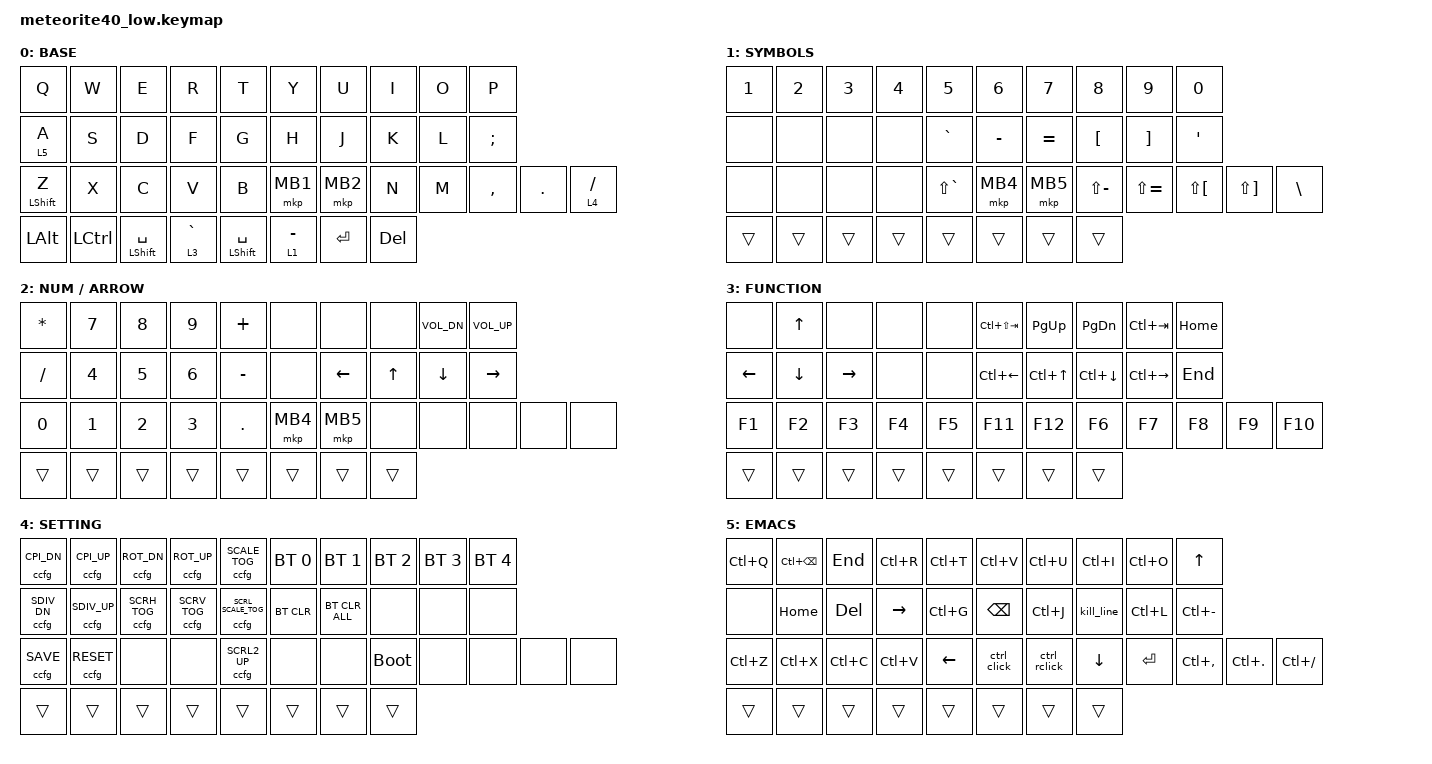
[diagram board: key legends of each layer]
#include <behaviors.dtsi>
#include <dt-bindings/zmk/bt.h>
#include <dt-bindings/zmk/keys.h>
#include <dt-bindings/zmk/pointing.h>

#include <behaviors/custom_config.dtsi>
#include <behaviors/meteorite_custom_key.dtsi>
#include <behaviors/meteorite_bt_os.dtsi>
#include <behaviors/meteorite_mod_key.dtsi>
#include <behaviors/meteorite_os_key.dtsi>
#include <dt-bindings/zmk/custom_config.h>
#include <dt-bindings/zmk/meteorite_custom_keys.h>
#include <dt-bindings/zmk/meteorite_bt_os.h>

&mt {
    flavor = "tap-preferred"; // change hold to tap
    tapping-term-ms = <200>;
    quick-tap-ms = <150>; // change 200 to 150
};

&lt {
    flavor = "tap-preferred";
    tapping-term-ms = <150>; // change 200 to 150
    quick-tap-ms = <150>; // change 200 to 150
    require-prior-idle-ms = <150>; // 高速タイピング中はタップ優先
};

/ {
    behaviors {
        lt_emacs: lt_emacs {
            compatible = "zmk,behavior-hold-tap";
            #binding-cells = <2>;
            flavor = "tap-preferred";
            tapping-term-ms = <150>;
            quick-tap-ms = <150>;
            require-prior-idle-ms = <0>;
            bindings = <&mo>, <&kp>;
            display-name = "Emacs layer-tap (tap-preferred, no prior-idle)";
        };

        mck_mt: mck_mt {
            compatible = "zmk,behavior-hold-tap";
            #binding-cells = <2>;
            flavor = "tap-preferred";
            tapping-term-ms = <150>;
            bindings = <&mck>, <&kp>;
            display-name = "meteorite OS-Switch-mod-tap";
        };

        mck_mt_st: mck_mt_st {
            compatible = "zmk,behavior-hold-tap";
            #binding-cells = <2>;
            flavor = "tap-preferred";
            tapping-term-ms = <150>;
            bindings = <&mck>, <&alt_cmd_tab>;
            display-name = "meteorite OS-Switch-mod-tap (smart toggle)";
        };

        alt_cmd_tab: alt_cmd_tab {
            compatible = "zmk,behavior-smart-toggle";
            #binding-cells = <0>;
            display-name = "meteorite Smart toggle (Alt/Cmd+Tab)";
            bindings = <&mck M_OS_ALT_CMD>, <&kp TAB>;
            position-bindings = <12 13>; /* D, F */
            position-binding-behaviors = <&kp LS(TAB)>, <&kp TAB>;
        };
    };

    macros {
        kill_line: kill_line {
            compatible = "zmk,behavior-macro";
            #binding-cells = <0>;
            bindings = <&kp LS(END) &kp DEL>;
        };

        ctrl_click: ctrl_click {
            compatible = "zmk,behavior-macro";
            #binding-cells = <0>;
            bindings =
                <&macro_press>,
                <&kp LCTRL>,
                <&macro_tap>,
                <&mkp MB1>,
                <&macro_release>,
                <&kp LCTRL>;
        };

        ctrl_rclick: ctrl_rclick {
            compatible = "zmk,behavior-macro";
            #binding-cells = <0>;
            bindings =
                <&macro_press>,
                <&kp LCTRL>,
                <&macro_tap>,
                <&mkp MB2>,
                <&macro_release>,
                <&kp LCTRL>;
        };
    };

    combos {
        compatible = "zmk,combos";

        lang1 {
            bindings = <&kp LANG1>;
            key-positions = <12 13>; /* D + F */
            layers = <0>;
        };

        lang2 {
            bindings = <&kp LANG2>;
            key-positions = <16 17>; /* J + K */
            layers = <0>;
        };

        esc {
            bindings = <&kp ESCAPE>;
            key-positions = <20 21>; /* Z + X */
            layers = <0>;
        };

        tab {
            bindings = <&kp TAB>;
            key-positions = <0 1>; /* Q + W */
            layers = <0>;
        };

        line_home {
            bindings = <&mosk HOME LG(LEFT)>;
            key-positions = <16 17>; /* J + K (on layer 2) */
            layers = <2>;
        };

        line_end {
            bindings = <&mosk END LG(RIGHT)>;
            key-positions = <18 19>; /* L + - (on layer 2) */
            layers = <2>;
        };

        doc_home {
            bindings = <&mosk LC(HOME) LG(UP)>;
            key-positions = <16 18>; /* J + L (on layer 2) */
            layers = <2>;
        };

        doc_end {
            bindings = <&mosk LC(END) LG(DOWN)>;
            key-positions = <17 19>; /* K + - (on layer 2) */
            layers = <2>;
        };

        ctrl_alt_delete {
            bindings = <&kp LC(LA(DELETE))>;
            key-positions = <2 3 4>;
        };

        win {
            bindings = <&kp LEFT_WIN>;
            key-positions = <5 6 7>;
        };

        alt_f4 {
            bindings = <&kp LA(F4)>;
            key-positions = <1 32>;
        };

        snipping_tool {
            bindings = <&kp LS(LG(S))>;
            key-positions = <25 26>;
        };

        l_semi_enter {
            bindings = <&kp ENTER>;
            key-positions = <18 19>; /* L + ; */
            layers = <0>;
        };

        aqua_voice {
            bindings = <&kp RALT>;
            key-positions = <17 18>; /* K + L */
            layers = <0>;
        };
    };

    keymap {
        compatible = "zmk,keymap";
        layout = &LOW_PROFILE_DEFAULT;

        win_default_layer {
            display-name = "BASE";
            bindings = <
&kp Q             &kp W      &kp E             &kp R        &kp T             &kp Y        &kp U      &kp I       &kp O  &kp P
&lt_emacs 5 A    &kp S      &kp D             &kp F        &kp G             &kp H        &kp J      &kp K       &kp L  &kp SEMICOLON
&mt LEFT_SHIFT Z  &kp X      &kp C             &kp V        &kp B             &mkp MB1     &mkp MB2   &kp N       &kp M  &kp COMMA      &kp DOT  &lt 4 SLASH
&kp LALT          &kp LCTRL  &mt LSHIFT SPACE  &lt 3 GRAVE  &mt LSHIFT SPACE  &lt 1 MINUS  &kp ENTER  &kp DELETE
            >;
        };

        layer_1 {
            display-name = "SYMBOLS";
            bindings = <
&kp NUMBER_1  &kp NUMBER_2  &kp NUMBER_3  &kp NUMBER_4  &kp N5         &kp NUMBER_6  &kp N7     &kp N8            &kp N9             &kp N0
&none         &none         &none         &none         &kp GRAVE      &kp MINUS     &kp EQUAL  &kp LEFT_BRACKET  &kp RIGHT_BRACKET  &kp SINGLE_QUOTE
&none         &none         &none         &none         &kp LS(GRAVE)  &mkp MB4      &mkp MB5   &kp LS(MINUS)     &kp LS(EQUAL)      &kp LS(LEFT_BRACKET)  &kp LS(RIGHT_BRACKET)  &kp BACKSLASH
&trans        &trans        &trans        &trans        &trans         &trans        &trans     &trans
            >;
        };

        layer_2 {
            display-name = "NUM / ARROW";
            bindings = <
                &kp ASTRK        &kp N7     &kp N8     &kp N9     &kp PLUS                        &none  &none     &none   &kp C_VOL_DN &kp C_VOL_UP
                &kp SLASH        &kp N4     &kp N5     &kp N6     &kp MINUS                       &none  &kp LEFT  &kp UP  &kp DOWN     &kp RIGHT
                &kp N0           &kp N1     &kp N2     &kp N3     &kp DOT   &mkp MB4   &mkp MB5   &none  &none     &none   &none        &none
                                        &trans           &trans     &trans     &trans    &trans        &trans  &trans    &trans
            >;
        };

        layer_3 {
            display-name = "FUNCTION";
            bindings = <
&none     &kp UP_ARROW  &none      &none   &none   &kp LC(LS(TAB))  &kp PAGE_UP       &kp PAGE_DOWN  &kp LC(TAB)    &kp HOME
&kp LEFT  &kp DOWN      &kp RIGHT  &none   &none   &kp LC(LEFT)     &kp LC(UP_ARROW)  &kp LC(DOWN)   &kp LC(RIGHT)  &kp END
&kp F1    &kp F2        &kp F3     &kp F4  &kp F5  &kp F11          &kp F12           &kp F6         &kp F7         &kp F8    &kp F9  &kp F10
&trans    &trans        &trans     &trans  &trans  &trans           &trans            &trans
            >;
        };

        layer_4 {
			display-name = "SETTING";
			bindings = <
				&ccfg C_CPI_DN  &ccfg C_CPI_UP  &ccfg C_ROT_DN   &ccfg C_ROT_UP   &ccfg C_SCALE_TOG                        &bt BT_SEL 0   &bt BT_SEL 1    &bt BT_SEL 2  &bt BT_SEL 3  &bt BT_SEL 4
				&ccfg C_SDIV_DN &ccfg C_SDIV_UP &ccfg C_SCRH_TOG &ccfg C_SCRV_TOG &ccfg C_SCRL_SCALE_TOG                   &bt BT_CLR     &bt BT_CLR_ALL  &none         &none         &none
				&ccfg C_SAVE    &ccfg C_RESET   &none            &none            &ccfg C_SCRL2_UP         &none  &none    &bootloader    &none           &none         &none         &none
												                    &trans       &trans  &trans  &trans  &trans  &trans    &trans        &trans
			>;
        };

        layer_5 {
            display-name = "EMACS";
            bindings = <
&kp LC(Q)  &kp LC(BSPC)  &kp END    &kp LC(R)  &kp LC(T)  &kp LC(V)    &kp LC(U)     &kp LC(I)   &kp LC(O)  &kp UP
&none      &kp HOME      &kp DEL    &kp RIGHT  &kp LC(G)  &kp BSPC     &kp LC(J)     &kill_line  &kp LC(L)  &kp LC(MINUS)
&kp LC(Z)  &kp LC(X)     &kp LC(C)  &kp LC(V)  &kp LEFT   &ctrl_click  &ctrl_rclick  &kp DOWN    &kp ENTER  &kp LC(COMMA)  &kp LC(DOT)  &kp LC(SLASH)
&trans     &trans        &trans     &trans     &trans     &trans       &trans        &trans
            >;
        };
    };
};
